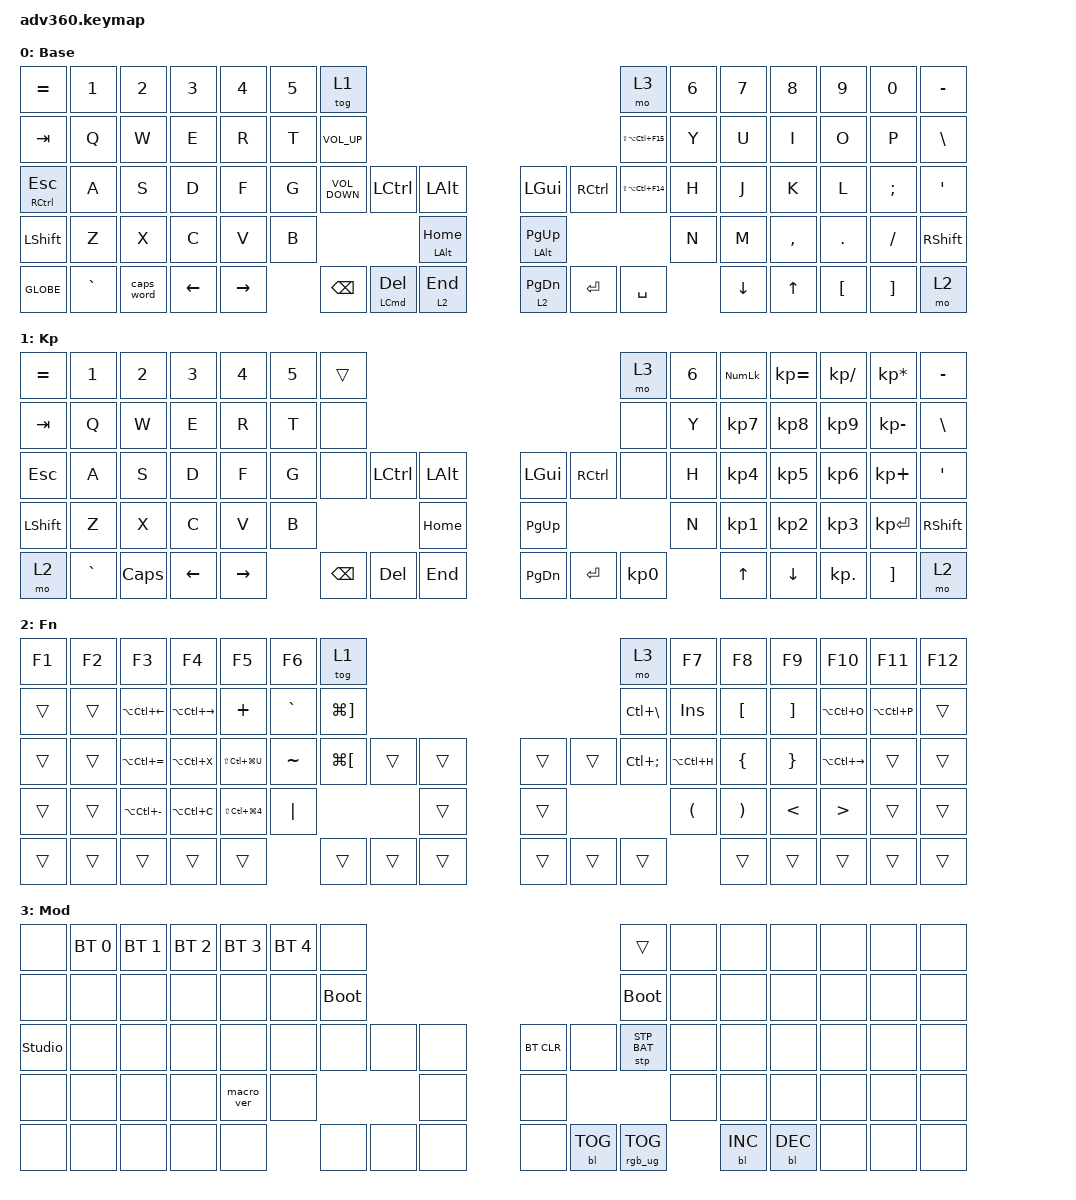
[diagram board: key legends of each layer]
#include <dt-bindings/zmk/stp.h>
#include <behaviors.dtsi>
#include <dt-bindings/zmk/backlight.h>
#include <dt-bindings/zmk/bt.h>
#include <dt-bindings/zmk/keys.h>
#include <dt-bindings/zmk/rgb.h>

/ {
    behaviors {
        #include "macros.dtsi"
      #include "version.dtsi"

        hm: homerow_mods {
            compatible = "zmk,behavior-hold-tap";
            label = "HOMEROW_MODS";
            #binding-cells = <2>;
            tapping-term-ms = <200>;
            quick_tap_ms = <175>;
            flavor = "tap-preferred";
            bindings = <&kp>, <&kp>;

            require-prior-idle-ms = <125>;
            hold-while-undecided;
            retro-tap;
        };
    };

    keymap {
        compatible = "zmk,keymap";

        default_layer {
            display-name = "Base";
            bindings = <
&kp EQUAL         &kp N1     &kp N2      &kp N3    &kp N4     &kp N5  &tog 1                                                                                              &mo 3                &kp N6  &kp N7    &kp N8        &kp N9    &kp N0         &kp MINUS
&kp TAB           &kp Q      &kp W       &kp E     &kp R      &kp T   &kp C_VOLUME_UP                                                                                     &kp LS(LA(LC(F15)))  &kp Y   &kp U     &kp I         &kp O     &kp P          &kp BSLH
&mt RCTRL ESCAPE  &kp A      &kp S       &kp D     &kp F      &kp G   &kp C_VOLUME_DOWN  &kp LCTRL                &kp LALT               &kp LGUI              &kp RCTRL  &kp LS(LA(LC(F14)))  &kp H   &kp J     &kp K         &kp L     &kp SEMICOLON  &kp SQT
&kp LSHFT         &kp Z      &kp X       &kp C     &kp V      &kp B                                               &mt LEFT_ALT HOME      &mt LEFT_ALT PAGE_UP                                  &kp N   &kp M     &kp COMMA     &kp DOT   &kp FSLH       &kp RSHFT
&kp GLOBE         &kp GRAVE  &caps_word  &kp LEFT  &kp RIGHT          &kp BSPC           &mt LEFT_COMMAND DELETE  &lt 2 END              &lt 2 PAGE_DOWN       &kp RET    &kp SPACE                    &kp DOWN  &kp UP_ARROW  &kp LBKT  &kp RBKT       &mo 2
            >;
        };

        keypad {
            display-name = "Kp";
            bindings = <
&kp EQUAL  &kp N1     &kp N2    &kp N3    &kp N4     &kp N5  &trans                                                   &mo 3      &kp N6  &kp KP_NUM  &kp KP_EQUAL  &kp KP_DIVIDE  &kp KP_MULTIPLY  &kp MINUS
&kp TAB    &kp Q      &kp W     &kp E     &kp R      &kp T   &none                                                    &none      &kp Y   &kp KP_N7   &kp KP_N8     &kp KP_N9      &kp KP_MINUS     &kp BSLH
&kp ESC    &kp A      &kp S     &kp D     &kp F      &kp G   &none     &kp LCTRL  &kp LALT      &kp LGUI   &kp RCTRL  &none      &kp H   &kp KP_N4   &kp KP_N5     &kp KP_N6      &kp KP_PLUS      &kp SQT
&kp LSHFT  &kp Z      &kp X     &kp C     &kp V      &kp B                        &kp HOME      &kp PG_UP                        &kp N   &kp KP_N1   &kp KP_N2     &kp KP_N3      &kp KP_ENTER     &kp RSHFT
&mo 2      &kp GRAVE  &kp CAPS  &kp LEFT  &kp RIGHT          &kp BSPC  &kp DEL    &kp END       &kp PG_DN  &kp ENTER  &kp KP_N0          &kp UP      &kp DOWN      &kp KP_DOT     &kp RBKT         &mo 2
            >;
        };

        fn {
            display-name = "Fn";
            bindings = <
&kp F1  &kp F2  &kp F3                  &kp F4             &kp F5                    &kp F6     &tog 1                                                     &mo 3              &kp F7                &kp F8                 &kp F9             &kp F10            &kp F11        &kp F12
&trans  &trans  &kp LA(LC(LEFT_ARROW))  &kp LA(LC(RIGHT))  &kp PLUS                  &kp GRAVE  &kp LG(RIGHT_BRACKET)                                      &kp LC(BACKSLASH)  &kp INS               &kp LEFT_BRACKET       &kp RIGHT_BRACKET  &kp LA(LC(O))      &kp LA(LC(P))  &trans
&trans  &trans  &kp LA(LC(EQUAL))       &kp LA(LC(X))      &kp LS(LC(LG(U)))         &kp TILDE  &kp LG(LEFT_BRACKET)   &trans  &trans      &trans  &trans  &kp LC(SEMICOLON)  &kp LA(LC(H))         &kp LEFT_BRACE         &kp RIGHT_BRACE    &kp LA(LC(RIGHT))  &trans         &trans
&trans  &trans  &kp LA(LC(MINUS))       &kp LA(LC(C))      &kp LS(LC(LG(NUMBER_4)))  &kp PIPE                                  &trans      &trans                             &kp LEFT_PARENTHESIS  &kp RIGHT_PARENTHESIS  &kp LESS_THAN      &kp GREATER_THAN   &trans         &trans
&trans  &trans  &trans                  &trans             &trans                               &trans                 &trans  &trans      &trans  &trans  &trans                                   &trans                 &trans             &trans             &trans         &trans
            >;
        };

        mod {
            display-name = "Mod";
            bindings = <
&none           &bt BT_SEL 0  &bt BT_SEL 1  &bt BT_SEL 2  &bt BT_SEL 3  &bt BT_SEL 4  &none                                                  &trans           &none  &none       &none       &none  &none  &none
&none           &none         &none         &none         &none         &none         &bootloader                                            &bootloader      &none  &none       &none       &none  &none  &none
&studio_unlock  &none         &none         &none         &none         &none         &none        &none  &none      &bt BT_CLR  &none       &stp STP_BAT     &none  &none       &none       &none  &none  &none
&none           &none         &none         &none         &macro_ver    &none                             &none      &none                                    &none  &none       &none       &none  &none  &none
&none           &none         &none         &none         &none                       &none        &none  &none      &none       &bl BL_TOG  &rgb_ug RGB_TOG         &bl BL_INC  &bl BL_DEC  &none  &none  &none
            >;
        };
    };
};
